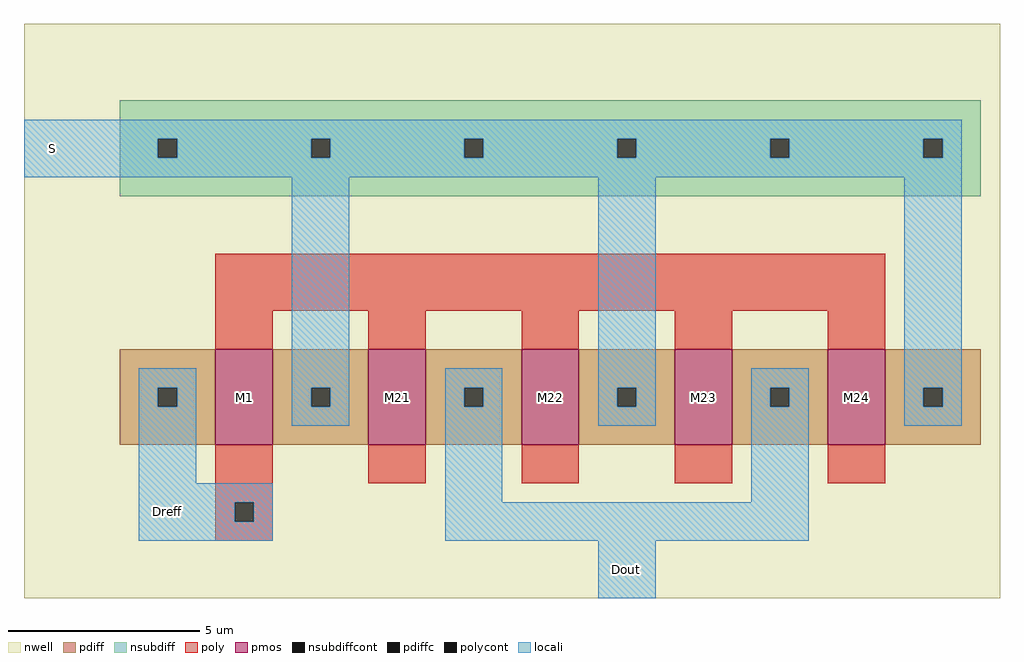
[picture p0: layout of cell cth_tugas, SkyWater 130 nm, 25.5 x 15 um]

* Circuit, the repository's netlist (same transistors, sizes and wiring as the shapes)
** sch_path: /home/nexus_is/Diices-Training-2026/Training-3/cth_tugas.sch
**.subckt cth_tugas
XM1 net2 net2 net1 net1 sky130_fd_pr__pfet_01v8 L=1.5 W=2.5 nf=1 ad='int((nf+1)/2) * W/nf * 0.29' as='int((nf+2)/2) * W/nf * 0.29'
+ pd='2*int((nf+1)/2) * (W/nf + 0.29)' ps='2*int((nf+2)/2) * (W/nf + 0.29)' nrd='0.29 / W' nrs='0.29 / W' sa=0 sb=0 sd=0 mult=1
XM2 net3 net2 net1 net1 sky130_fd_pr__pfet_01v8 L=1.5 W=2.5 nf=1 ad='int((nf+1)/2) * W/nf * 0.29' as='int((nf+2)/2) * W/nf * 0.29'
+ pd='2*int((nf+1)/2) * (W/nf + 0.29)' ps='2*int((nf+2)/2) * (W/nf + 0.29)' nrd='0.29 / W' nrs='0.29 / W' sa=0 sb=0 sd=0 mult=4 m=4
V1 net1 0 1.8
Vreff net2 net4 0
.save i(vreff)
Vout net3 0 0
.save i(vout)
I0 net4 0 1u
**** begin user architecture code
.lib /home/nexus_is/.ciel/volare/sky130/versions/0fe599b2afb6708d281543108caf8310912f54af/sky130A/libs.tech/combined/sky130.lib.spice tt



.control
 save all
 tran 1n 10n
 plot i(vreff) i(vout)

.endc



**** end user architecture code
**.ends
.end

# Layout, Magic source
magic
tech sky130A
<< nwell >>
rect -1400 -500 1150 1000
<< pmos >>
rect -900 -100 -750 150
rect -500 -100 -350 150
rect -100 -100 50 150
rect 300 -100 450 150
rect 700 -100 850 150
<< pdiff >>
rect -1150 50 -900 150
rect -1150 0 -1050 50
rect -1000 0 -900 50
rect -1150 -100 -900 0
rect -750 50 -500 150
rect -750 0 -650 50
rect -600 0 -500 50
rect -750 -100 -500 0
rect -350 50 -100 150
rect -350 0 -250 50
rect -200 0 -100 50
rect -350 -100 -100 0
rect 50 50 300 150
rect 50 0 150 50
rect 200 0 300 50
rect 50 -100 300 0
rect 450 50 700 150
rect 450 0 550 50
rect 600 0 700 50
rect 450 -100 700 0
rect 850 50 1100 150
rect 850 0 950 50
rect 1000 0 1100 50
rect 850 -100 1100 0
<< pdiffc >>
rect -1050 0 -1000 50
rect -650 0 -600 50
rect -250 0 -200 50
rect 150 0 200 50
rect 550 0 600 50
rect 950 0 1000 50
<< nsubdiff >>
rect -1150 700 1100 800
rect -1150 650 -1050 700
rect -1000 650 -650 700
rect -600 650 -250 700
rect -200 650 150 700
rect 200 650 550 700
rect 600 650 950 700
rect 1000 650 1100 700
rect -1150 550 1100 650
<< nsubdiffcont >>
rect -1050 650 -1000 700
rect -650 650 -600 700
rect -250 650 -200 700
rect 150 650 200 700
rect 550 650 600 700
rect 950 650 1000 700
<< poly >>
rect -900 250 850 400
rect -900 150 -750 250
rect -500 150 -350 250
rect -100 150 50 250
rect 300 150 450 250
rect 700 150 850 250
rect -900 -250 -750 -100
rect -500 -200 -350 -100
rect -100 -200 50 -100
rect 300 -200 450 -100
rect 700 -200 850 -100
rect -900 -300 -850 -250
rect -800 -300 -750 -250
rect -900 -350 -750 -300
<< polycont >>
rect -850 -300 -800 -250
<< locali >>
rect -1400 700 1050 750
rect -1400 650 -1050 700
rect -1000 650 -650 700
rect -600 650 -250 700
rect -200 650 150 700
rect 200 650 550 700
rect 600 650 950 700
rect 1000 650 1050 700
rect -1400 600 1050 650
rect -1100 50 -950 100
rect -1100 0 -1050 50
rect -1000 0 -950 50
rect -1100 -200 -950 0
rect -700 50 -550 600
rect -700 0 -650 50
rect -600 0 -550 50
rect -700 -50 -550 0
rect -300 50 -150 100
rect -300 0 -250 50
rect -200 0 -150 50
rect -1100 -250 -750 -200
rect -1100 -300 -850 -250
rect -800 -300 -750 -250
rect -1100 -350 -750 -300
rect -300 -250 -150 0
rect 100 50 250 600
rect 100 0 150 50
rect 200 0 250 50
rect 100 -50 250 0
rect 500 50 650 100
rect 500 0 550 50
rect 600 0 650 50
rect 500 -250 650 0
rect 900 50 1050 600
rect 900 0 950 50
rect 1000 0 1050 50
rect 900 -50 1050 0
rect -300 -350 650 -250
rect 100 -500 250 -350
<< labels >>
flabel pmos -500 -100 -350 150 0 FreeSans 400 0 0 0 M21
flabel pmos 300 -100 450 150 0 FreeSans 400 0 0 0 M23
flabel pmos 700 -100 850 150 0 FreeSans 400 0 0 0 M24
flabel pmos -100 -100 50 150 0 FreeSans 400 0 0 0 M22
flabel pmos -900 -100 -750 150 0 FreeSans 400 0 0 0 M1
flabel locali -1100 -350 -950 -200 0 FreeSans 240 0 0 0 Dreff
port 1 nsew
flabel locali -1400 600 -1250 750 0 FreeSans 240 0 0 0 S
port 2 nsew
flabel locali 100 -500 250 -350 0 FreeSans 240 0 0 0 Dout
port 3 nsew
<< end >>
